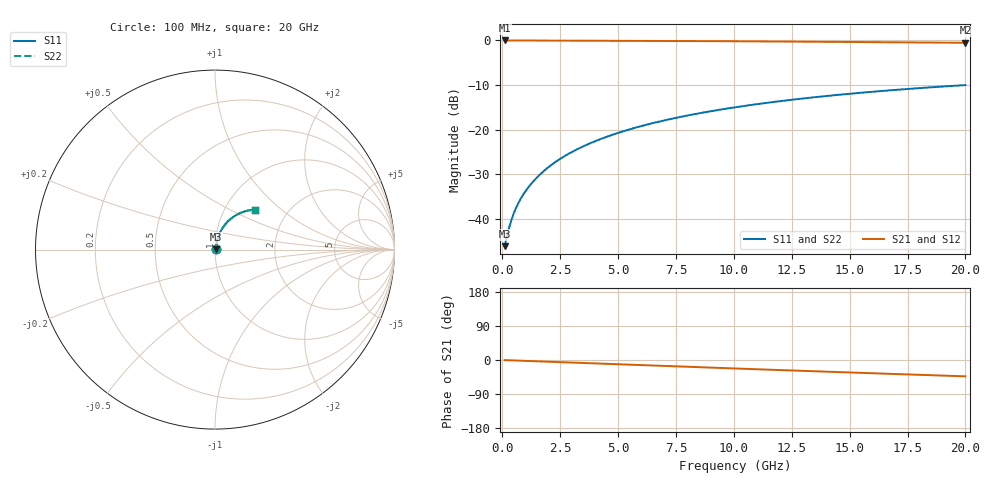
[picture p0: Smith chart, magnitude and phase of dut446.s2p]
! Touchstone file exported from HFSS 2026.1.0
!  File:  C:/ffzhzh/LocalFiles/Ansys_Project_Files/temp_train_BSMRDL_446_1783013185_55676.aedt
!  Generated:  01:27:55 AM Jul  3, 2026
!  Design:  BSMRDL
!  Project:  temp_train_BSMRDL_446_1783013185_55676
! Variables:
!  h_bsmrdl = 2.11um
!  h_ox = 20um
!  h_rdl = 5um
!  h_sub = 80um
!  h_tmrdl = 5um
!  h_tsv = 80um
!  h_via = 3um
!  l_bsmrdl = 665.66um
!  l_sub = 1065.66um
!  l_tmrdl = 200um
!  m_sub = 200um
!  pitch = 45.33um
!  r_tsv = 6um
!  s_tmrdl = 10um
!  w_bsmrdl = 27.57um
!  w_sub = 500um
!  w_tmrdl = 12um
!  x_tsv_center1 = 206um
!  x_tsv_center2 = 899.23um
!  x_tsv_center3 = 1111.23um
!  x_tsv_center4 = 1804.46um
!  x_tsv_center5 = 2016.46um
!  x_tsv_center6 = 2709.69um
# GHz S MA R 50.000000
! Terminal data exported
! Port[1] = BSM_RDL1_1_T1
! Port[2] = BSM_RDL1_1_T2
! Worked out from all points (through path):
!   200 points, 100 MHz to 20 GHz, reference 50 ohm
!   highest |S21| = -0.04 dB at 100 MHz (marker M1); lowest = -0.6 dB at 20 GHz (marker M2)
!   group delay of S21, straight-line fit = 6 ps
!   lowest |S11| = -46.1 dB at 100 MHz (marker M3), VSWR 1.01, Z = 50.4 + j0.222 ohm
!   |S11| at or under -10 dB: start of sweep to end of sweep
!   |S22| runs from -46.1 to -10.0 dB; largest |S21 - S12| = 2.7e-15
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0.1  0.004957 26.3  0.9956 -0.2  0.9956 -0.2  0.004957 26.3
! Gamma 0 0 0 0
! Port Impedance 50 0 50 0
0.3  0.008058 52.5  0.9952 -0.7  0.9952 -0.7  0.008058 52.5
0.4  0.009848 58.1  0.9949 -1.0  0.9949 -1.0  0.009848 58.1
0.5  0.01164 61.7  0.9946 -1.2  0.9946 -1.2  0.01164 61.7
0.6  0.01341 64.4  0.9944 -1.4  0.9944 -1.4  0.01341 64.4
0.8  0.01692 68.0  0.9941 -1.9  0.9941 -1.9  0.01692 68.0
1  0.0204 70.4  0.9938 -2.3  0.9938 -2.3  0.0204 70.4
1.2  0.0239 72.2  0.9935 -2.8  0.9935 -2.8  0.0239 72.2
1.4  0.02742 73.5  0.9933 -3.2  0.9933 -3.2  0.02742 73.5
1.7  0.03274 74.8  0.9931 -3.9  0.9931 -3.9  0.03274 74.8
2.2  0.04168 75.9  0.9926 -5.0  0.9926 -5.0  0.04168 75.9
2.8  0.05247 76.3  0.9919 -6.4  0.9919 -6.4  0.05247 76.3
3.5  0.06506 76.0  0.991 -7.9  0.991 -7.9  0.06506 76.0
4.2  0.07762 75.3  0.99 -9.5  0.99 -9.5  0.07762 75.3
5  0.09187 74.2  0.9886 -11.3  0.9886 -11.3  0.09187 74.2
5.9  0.1077 72.7  0.9867 -13.3  0.9867 -13.3  0.1077 72.7
6.8  0.1234 71.1  0.9847 -15.3  0.9847 -15.3  0.1234 71.1
8.3  0.1489 68.3  0.9807 -18.6  0.9807 -18.6  0.1489 68.3
10.1  0.1785 64.7  0.9752 -22.5  0.9752 -22.5  0.1785 64.7
13.4  0.2292 58.0  0.9635 -29.6  0.9635 -29.6  0.2292 58.0
16.7  0.2748 51.3  0.9506 -36.4  0.9506 -36.4  0.2748 51.4
20  0.315 44.8  0.9374 -43.1  0.9374 -43.1  0.315 44.8
